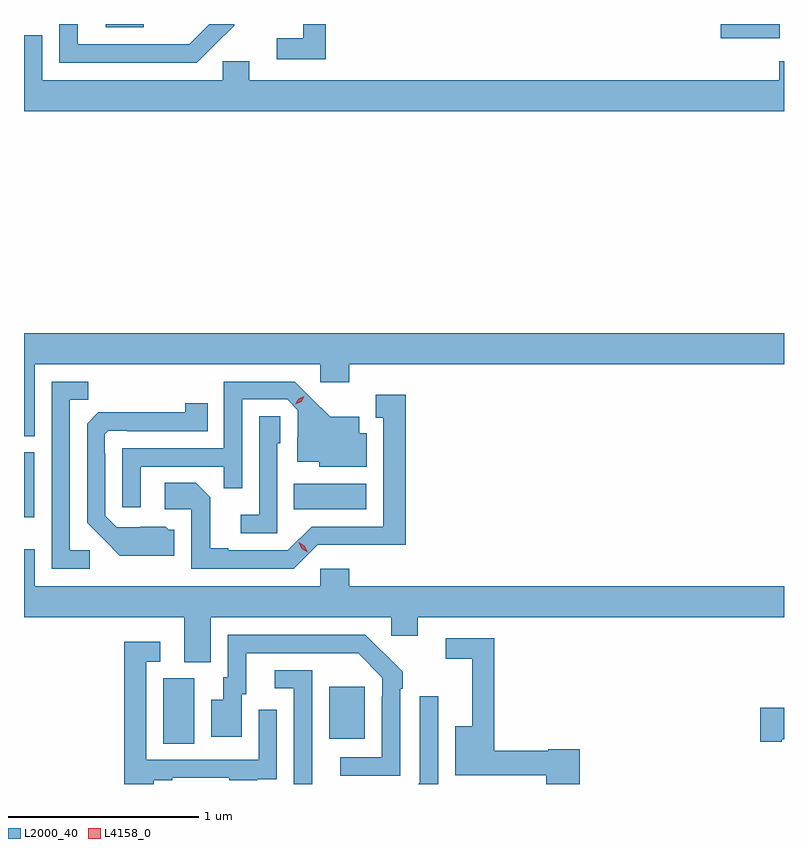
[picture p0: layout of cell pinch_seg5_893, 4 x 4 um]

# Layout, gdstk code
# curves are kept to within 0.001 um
import gdstk
lib = gdstk.Library(unit=1e-6, precision=1e-09)
def R(c, l, rs):  # rectangles x0, y0, x1, y1
    for r in rs: c.add(gdstk.rectangle(r[:2], r[2:], *l))
def P(c, l, *ps):  # polygons
    for p in ps: c.add(gdstk.Polygon(p, *l))
L2000_40 = (2000, 40)
L4158_0 = (4158, 0)

pinch_seg5_893 = lib.new_cell('pinch_seg5_893')
R(pinch_seg5_893, L2000_40, [(706.112,909.376,706.276,909.72), (706.985,909.401,707.173,909.676), (705.379,910.566,705.433,910.909), (706.798,910.61,707.179,910.744), (709.047,913.087,709.356,913.163), (705.81,913.146,706.008,913.163)])
P(pinch_seg5_893, L2000_40, [(706.967,913.163),(706.85,913.163),(706.85,913.087),(706.71,913.087),(706.71,912.978),(706.967,912.978)],
  [(706.379,913.051),(706.38,913.05),(706.485,913.155),(706.485,913.163),(706.355,913.163),(706.249,913.057),(706.145,913.056),(705.661,913.056),(705.661,913.163),(705.564,913.163),(705.564,912.96),(706.288,912.96)],
  [(709.379,912.967),(709.355,912.967),(709.355,912.868),(706.564,912.868),(706.564,912.966),(706.425,912.966),(706.425,912.868),(705.475,912.868),(705.475,913.104),(705.379,913.104),(705.379,912.704),(709.379,912.704)],
  [(705.436,911.372),(706.938,911.372),(706.938,911.277),(707.09,911.277),(707.09,911.372),(709.379,911.372),(709.379,911.536),(705.379,911.536),(705.379,910.994),(705.436,910.994)],
  [(705.993,910.833),(706.429,910.833),(706.429,910.72),(706.527,910.72),(706.527,911.187),(706.764,911.187),(706.821,911.13),(706.821,910.988),(706.817,910.988),(706.817,910.859),(706.932,910.859),(706.932,910.832),(707.182,910.832),(707.182,911.008),(707.143,911.008),(707.143,911.095),(706.991,911.095),(706.804,911.28),(706.431,911.28),(706.431,910.929),(705.897,910.929),(705.897,910.62),(705.993,910.62)],
  [(705.724,910.392),(705.621,910.392),(705.621,911.185),(705.717,911.185),(705.717,911.28),(705.525,911.28),(705.525,910.296),(705.724,910.296)],
  [(706.926,910.422),(707.389,910.421),(707.389,911.212),(707.231,911.212),(707.231,911.091),(707.27,911.091),(707.27,910.518),(706.893,910.518),(706.767,910.392),(706.453,910.392),(706.453,910.405),(706.359,910.405),(706.359,910.672),(706.283,910.748),(706.119,910.748),(706.119,910.608),(706.26,910.608),(706.26,910.296),(706.8,910.296)],
  [(706.171,910.5),(706.14,910.5),(706.124,910.516),(705.867,910.515),(705.807,910.575),(705.807,910.904),(705.804,910.904),(705.804,911.004),(705.822,911.022),(705.922,911.022),(705.922,911.019),(706.346,911.019),(706.346,911.167),(706.228,911.167),(706.228,911.12),(705.77,911.119),(705.711,911.06),(705.711,910.538),(705.883,910.364),(706.171,910.364)],
  [(706.713,910.956),(706.728,910.956),(706.728,911.099),(706.617,911.099),(706.617,910.579),(706.521,910.579),(706.521,910.482),(706.713,910.482)],
  [(706.363,910.04),(707.313,910.04),(707.313,909.942),(707.452,909.942),(707.452,910.04),(709.379,910.04),(709.379,910.204),(707.09,910.204),(707.09,910.297),(706.938,910.297),(706.938,910.204),(705.436,910.204),(705.436,910.399),(705.379,910.399),(705.379,910.04),(706.223,910.04),(706.223,909.805),(706.363,909.805)],
  [(707.358,909.665),(707.373,909.665),(707.373,909.753),(707.176,909.948),(706.452,909.948),(706.452,909.726),(706.427,909.726),(706.427,909.607),(706.364,909.607),(706.364,909.411),(706.525,909.411),(706.525,909.636),(706.549,909.636),(706.549,909.852),(707.137,909.852),(707.265,909.723),(707.265,909.623),(707.262,909.623),(707.262,909.303),(707.043,909.303),(707.043,909.207),(707.358,909.207)],
  [(708.305,909.346),(708.138,909.346),(708.138,909.338),(707.855,909.338),(707.855,909.93),(707.598,909.93),(707.598,909.822),(707.738,909.822),(707.738,909.466),(707.648,909.466),(707.648,909.21),(708.127,909.21),(708.127,909.163),(708.305,909.163)],
  [(706.063,909.183),(706.159,909.183),(706.159,909.195),(706.459,909.195),(706.459,909.183),(706.607,909.183),(706.607,909.189),(706.709,909.189),(706.709,909.298),(706.71,909.298),(706.71,909.553),(706.614,909.553),(706.614,909.291),(706.023,909.291),(706.023,909.807),(706.096,909.807),(706.096,909.913),(705.907,909.913),(705.907,909.163),(706.063,909.163)],
  [(706.897,909.305),(706.896,909.305),(706.896,909.762),(706.698,909.762),(706.698,909.666),(706.8,909.666),(706.8,909.163),(706.897,909.163)],
  [(707.559,909.625),(707.463,909.625),(707.463,909.171),(707.455,909.163),(707.559,909.163)],
  [(709.366,909.398),(709.379,909.398),(709.379,909.564),(709.254,909.564),(709.254,909.386),(709.366,909.386)])
P(pinch_seg5_893, L4158_0, [(706.872,910.383),(706.841,910.402),(706.824,910.435),(706.824,910.435),(706.824,910.435),(706.855,910.416),(706.872,910.383),(706.872,910.383)],
  [(706.806,911.161),(706.806,911.161),(706.824,911.191),(706.854,911.205),(706.855,911.205),(706.855,911.205),(706.837,911.176),(706.807,911.161)])

lib.write_gds('pinch_seg5_893.gds')
